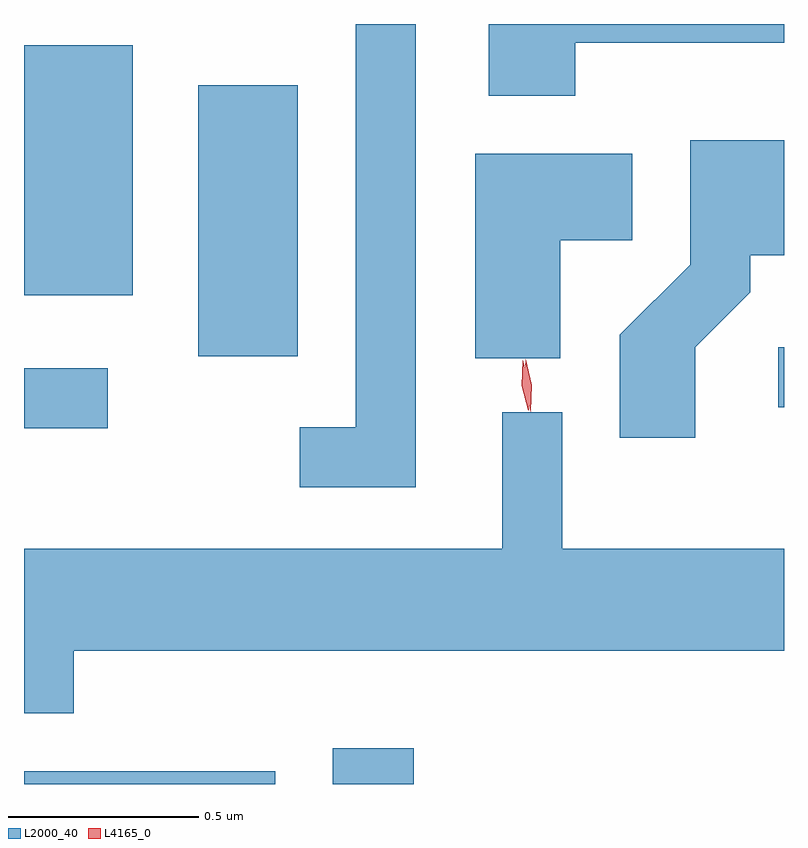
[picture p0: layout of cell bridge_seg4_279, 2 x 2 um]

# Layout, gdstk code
import gdstk
lib = gdstk.Library(unit=1e-6, precision=1e-09)
def R(c, l, rs):  # rectangles x0, y0, x1, y1
    for r in rs: c.add(gdstk.rectangle(r[:2], r[2:], *l))
def P(c, l, *ps):  # polygons
    for p in ps: c.add(gdstk.Polygon(p, *l))
L2000_40 = (2000, 40)
L4165_0 = (4165, 0)

bridge_seg4_279 = lib.new_cell('bridge_seg4_279')
R(bridge_seg4_279, L2000_40, [(558.568,1387.625,559.229,1387.659), (559.381,1387.625,559.594,1387.719), (558.568,1388.561,558.788,1388.719), (560.553,1388.616,560.568,1388.774), (559.026,1388.751,559.289,1389.464), (558.568,1388.911,558.854,1389.569)])
P(bridge_seg4_279, L2000_40, [(559.599,1389.625),(559.441,1389.625),(559.441,1388.564),(559.293,1388.564),(559.293,1388.406),(559.599,1388.406)],
  [(560.019,1389.576),(560.568,1389.576),(560.568,1389.625),(559.791,1389.625),(559.791,1389.436),(560.019,1389.436)],
  [(560.334,1388.774),(560.479,1388.919),(560.479,1389.016),(560.568,1389.016),(560.568,1389.319),(560.321,1389.319),(560.321,1388.992),(560.136,1388.807),(560.136,1388.536),(560.334,1388.536)],
  [(559.979,1389.056),(560.169,1389.056),(560.169,1389.284),(559.756,1389.284),(559.756,1388.746),(559.979,1388.746)],
  [(558.699,1387.976),(560.568,1387.976),(560.568,1388.244),(559.984,1388.244),(559.984,1388.603),(559.826,1388.603),(559.826,1388.244),(558.568,1388.244),(558.568,1387.811),(558.699,1387.811)])
P(bridge_seg4_279, L4165_0, [(559.895,1388.608),(559.878,1388.673),(559.88,1388.74),(559.881,1388.74),(559.881,1388.74),(559.898,1388.675),(559.896,1388.608),(559.896,1388.608)],
  [(559.901,1388.605),(559.901,1388.606),(559.885,1388.673),(559.888,1388.743),(559.888,1388.743),(559.888,1388.743),(559.904,1388.675),(559.902,1388.606)])

lib.write_gds('bridge_seg4_279.gds')
